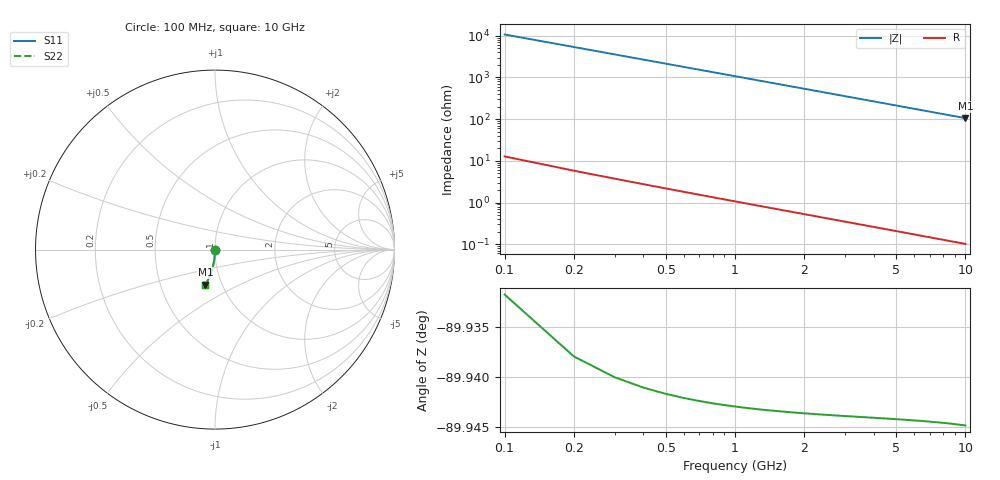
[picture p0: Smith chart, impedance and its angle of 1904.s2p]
# Hz S RI R 50.00
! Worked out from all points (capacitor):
!   100 points, 100 MHz to 10 GHz, reference 50 ohm
!   read as one part in shunt: C = 149 fF near 100 MHz
!   lowest |Z| = 106 ohm at 10 GHz (marker M1)
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1e8  6.66e-05 -0.00203  0.9999 -0.00263  0.9999 -0.00263  6.66e-05 -0.00203
2e8  4.88e-05 -0.00406  0.9999 -0.00527  0.9999 -0.00527  4.88e-05 -0.00406
3e8  2.02e-05 -0.00609  0.9999 -0.00791  0.9999 -0.00791  2.02e-05 -0.00609
4e8  -1.93e-05 -0.00812  0.9998 -0.0105  0.9998 -0.0105  -1.93e-05 -0.00812
5e8  -6.95e-05 -0.0102  0.9998 -0.0132  0.9998 -0.0132  -6.95e-05 -0.0102
6e8  -0.00013 -0.0122  0.9997 -0.0158  0.9997 -0.0158  -0.00013 -0.0122
7e8  -0.000202 -0.0142  0.9996 -0.0184  0.9996 -0.0184  -0.000202 -0.0142
8e8  -0.000285 -0.0163  0.9995 -0.0211  0.9995 -0.0211  -0.000285 -0.0163
9e8  -0.000378 -0.0183  0.9995 -0.0237  0.9995 -0.0237  -0.000378 -0.0183
1.1e9  -0.000597 -0.0223  0.9992 -0.029  0.9992 -0.029  -0.000597 -0.0223
1.4e9  -0.00101 -0.0284  0.9988 -0.0369  0.9988 -0.0369  -0.00101 -0.0284
1.8e9  -0.0017 -0.0366  0.9981 -0.0475  0.9981 -0.0475  -0.0017 -0.0366
2.1e9  -0.00234 -0.0427  0.9974 -0.0554  0.9974 -0.0554  -0.00234 -0.0427
2.5e9  -0.00334 -0.0508  0.9964 -0.0659  0.9964 -0.0659  -0.00334 -0.0508
2.9e9  -0.00451 -0.0589  0.9952 -0.0765  0.9952 -0.0765  -0.00451 -0.0589
3.4e9  -0.00622 -0.069  0.9934 -0.0896  0.9934 -0.0896  -0.00622 -0.069
4.2e9  -0.00951 -0.085  0.99 -0.1106  0.99 -0.1106  -0.00951 -0.085
5.1e9  -0.014 -0.1029  0.9853 -0.134  0.9853 -0.134  -0.014 -0.1029
5.9e9  -0.0188 -0.1187  0.9804 -0.1547  0.9804 -0.1547  -0.0188 -0.1187
6.7e9  -0.0242 -0.1341  0.9748 -0.1751  0.9748 -0.1751  -0.0242 -0.1341
8.4e9  -0.0377 -0.1661  0.9607 -0.2177  0.9607 -0.2177  -0.0377 -0.1661
1e10  -0.053 -0.1946  0.9449 -0.2565  0.9449 -0.2565  -0.053 -0.1946
